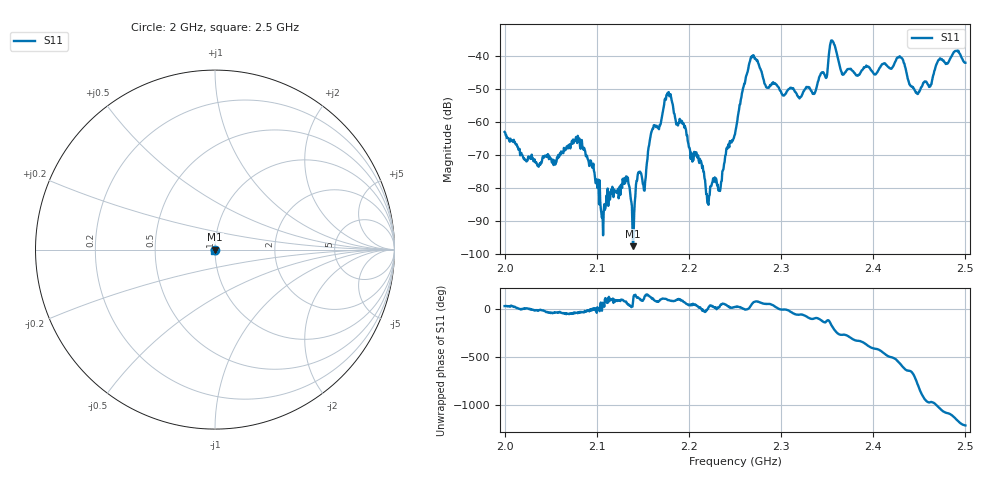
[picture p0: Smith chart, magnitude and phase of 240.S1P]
! C:\Users\rflab\Downloads\dp2_kdzw\240.S1P
! Touchstone 1.1 file saved by VNA.EXE V1.65 (www.ke5fx.com/gpib/readme.htm)
! 12/12/2024 7:14:26 PM
!  Source: HEWLETT PACKARD,8753D,0,6.14
!  Min freq: 2.000000E+009 Hz
!  Max freq: 2.500000E+009 Hz
!  Points: 801
!  Params: S21
# GHZ S MA R 50
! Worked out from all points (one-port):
!   801 points, 2 GHz to 2.5 GHz, reference 50 ohm
!   lowest |S11| = -97.7 dB at 2.139 GHz (marker M1), VSWR 1.00, Z = 50 + j0.00129 ohm
!   |S11| at or under -10 dB: start of sweep to end of sweep
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2  0.000697 35.8
2.03625  0.000215 -6.9
2.0625  0.000348 -38.7
2.07875  0.000474 -34.8
2.103125  0.000129 -17.6
2.125  0.000104 96.9
2.139375  1.3e-05 83.4
2.151875  9e-05 136.2
2.16  0.000744 121.2
2.168125  0.000883 91.9
2.17625  0.002533 105.0
2.1875  0.000953 106.4
2.220625  5.8e-05 6.0
2.233125  9.1e-05 25.6
2.25  0.000645 27.7
2.26875  0.009897 62.8
2.284375  0.003273 58.3
2.3125  0.003145 -37.3
2.33625  0.002654 -93.2
2.34875  0.004575 -126.9
2.355625  0.01677 178.3
2.36625  0.005191 94.2
2.375  0.006248 66.4
2.42875  0.009755 156.2
2.4375  0.004442 79.5
2.448125  0.002612 -64.5
2.471875  0.008662 44.6
2.5  0.007768 -136.8
